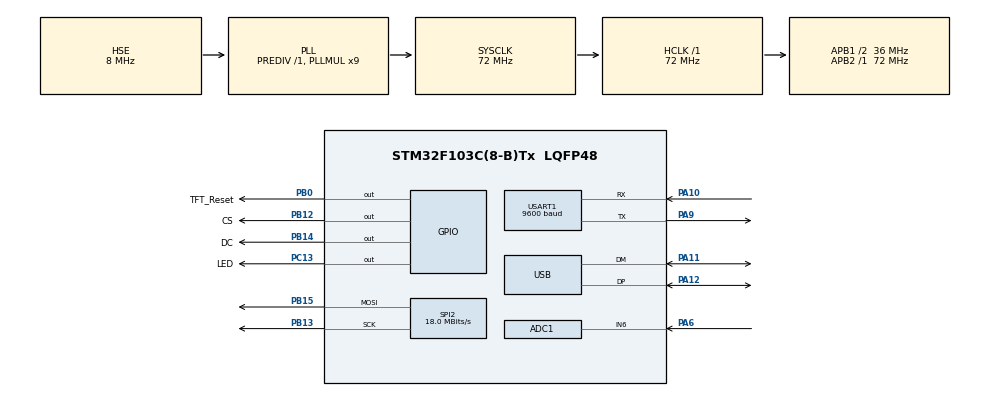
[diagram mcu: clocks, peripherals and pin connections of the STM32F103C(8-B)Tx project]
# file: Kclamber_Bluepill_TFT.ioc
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ADC1.Channel-1\#ChannelRegularConversion=ADC_CHANNEL_6
ADC1.NbrOfConversionFlag=1
ADC1.Rank-1\#ChannelRegularConversion=1
ADC1.SamplingTime-1\#ChannelRegularConversion=ADC_SAMPLETIME_1CYCLE_5
ADC1.master=1
Dma.Request0=USART1_RX
Dma.Request1=USART1_TX
Dma.USART1_RX.0.Direction=DMA_PERIPH_TO_MEMORY
Dma.USART1_RX.0.Instance=DMA1_Channel5
Dma.USART1_RX.0.MemDataAlignment=DMA_MDATAALIGN_BYTE
Dma.USART1_RX.0.MemInc=DMA_MINC_ENABLE
Dma.USART1_RX.0.Mode=DMA_CIRCULAR
Dma.USART1_RX.0.PeriphDataAlignment=DMA_PDATAALIGN_BYTE
Dma.USART1_RX.0.PeriphInc=DMA_PINC_DISABLE
Dma.USART1_RX.0.Priority=DMA_PRIORITY_LOW
Dma.USART1_TX.1.Direction=DMA_MEMORY_TO_PERIPH
Dma.USART1_TX.1.Instance=DMA1_Channel4
Dma.USART1_TX.1.MemDataAlignment=DMA_MDATAALIGN_BYTE
Dma.USART1_TX.1.MemInc=DMA_MINC_ENABLE
Dma.USART1_TX.1.Mode=DMA_NORMAL
Dma.USART1_TX.1.PeriphDataAlignment=DMA_PDATAALIGN_BYTE
Dma.USART1_TX.1.PeriphInc=DMA_PINC_DISABLE
Dma.USART1_TX.1.Priority=DMA_PRIORITY_LOW
Mcu.Family=STM32F1
Mcu.Name=STM32F103C(8-B)Tx
Mcu.Package=LQFP48
NVIC.DMA1_Channel4_IRQn=true\:0\:0\:false\:false\:true\:false\:true\:true
NVIC.DMA1_Channel5_IRQn=true\:0\:0\:false\:false\:true\:false\:true\:true
NVIC.PriorityGroup=NVIC_PRIORITYGROUP_4
NVIC.USART1_IRQn=true\:0\:0\:false\:false\:true\:true\:true\:true
NVIC.USB_LP_CAN1_RX0_IRQn=true\:0\:0\:false\:false\:true\:false\:true\:true
PA10.Mode=Asynchronous
PA10.Signal=USART1_RX
PA11.Mode=Device
PA11.Signal=USB_DM
PA12.Mode=Device
PA12.Signal=USB_DP
PA13.Mode=Serial_Wire
PA13.Signal=SYS_JTMS-SWDIO
PA14.Mode=Serial_Wire
PA14.Signal=SYS_JTCK-SWCLK
PA6.Signal=ADCx_IN6
PA9.Mode=Asynchronous
PA9.Signal=USART1_TX
PB0.GPIO_Label=TFT_Reset
PB0.Signal=GPIO_Output
PB12.GPIO_Label=CS
PB12.Signal=GPIO_Output
PB13.Mode=TX_Only_Simplex_Unidirect_Master
PB13.Signal=SPI2_SCK
PB14.GPIO_Label=DC
PB14.Signal=GPIO_Output
PB15.Mode=TX_Only_Simplex_Unidirect_Master
PB15.Signal=SPI2_MOSI
PC13-TAMPER-RTC.GPIO_Label=LED
PC13-TAMPER-RTC.Signal=GPIO_Output
PD0-OSC_IN.Mode=HSE-External-Oscillator
PD0-OSC_IN.Signal=RCC_OSC_IN
PD1-OSC_OUT.Mode=HSE-External-Oscillator
PD1-OSC_OUT.Signal=RCC_OSC_OUT
ProjectManager.HeapSize=0x200
ProjectManager.StackSize=0x400
ProjectManager.TargetToolchain=STM32CubeIDE
RCC.ADCPresc=RCC_ADCPCLK2_DIV6
RCC.AHBFreq_Value=72000000
RCC.APB1CLKDivider=RCC_HCLK_DIV2
RCC.APB1Freq_Value=36000000
RCC.APB1TimFreq_Value=72000000
RCC.APB2Freq_Value=72000000
RCC.APB2TimFreq_Value=72000000
RCC.HCLKFreq_Value=72000000
RCC.PLLMUL=RCC_PLL_MUL9
RCC.SYSCLKFreq_VALUE=72000000
RCC.SYSCLKSource=RCC_SYSCLKSOURCE_PLLCLK
RCC.USBFreq_Value=48000000
RCC.USBPrescaler=RCC_USBCLKSOURCE_PLL_DIV1_5
SH.ADCx_IN6.0=ADC1_IN6,IN6
SPI2.BaudRatePrescaler=SPI_BAUDRATEPRESCALER_2
SPI2.CalculateBaudRate=18.0 MBits/s
SPI2.Direction=SPI_DIRECTION_2LINES
SPI2.Mode=SPI_MODE_MASTER
SPI2.VirtualType=VM_MASTER
USART1.BaudRate=9600
USART1.VirtualMode=VM_ASYNC
USB_DEVICE.CLASS_NAME_FS=CDC
USB_DEVICE.VirtualMode=Cdc
USB_DEVICE.VirtualModeFS=Cdc_FS
VP_USB_DEVICE_VS_USB_DEVICE_CDC_FS.Mode=CDC_FS
board=custom

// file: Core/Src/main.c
/* USER CODE BEGIN Header */
/**
  ******************************************************************************
  * @file           : main.c
  * @brief          : Main program body
  ******************************************************************************
  * @attention
  *
  * Copyright (c) 2026 STMicroelectronics.
  * All rights reserved.
  *
  * This software is licensed under terms that can be found in the LICENSE file
  * in the root directory of this software component.
  * If no LICENSE file comes with this software, it is provided AS-IS.
  *
  ******************************************************************************
  */
/* USER CODE END Header */
#include "main.h"
#include "usb_device.h"

/* USER CODE BEGIN Includes */
#include "ili9341.h"
#include "string.h"
#include "usbd_cdc_if.h"
#include "hubsensor.h"
/* USER CODE END Includes */

/* USER CODE BEGIN PTD */
char Tx_Buffer[64];
volatile uint8_t ui8_UART_flag=0;
uint16_t Tx_len;
Hubsensor_t hubdata;
/* USER CODE END PTD */

/* USER CODE BEGIN PD */
#define FONTCOLOR ILI9341_WHITE
#define BGCOLOR ILI9341_BLACK
/* USER CODE END PD */

ADC_HandleTypeDef hadc1;

SPI_HandleTypeDef hspi2;

UART_HandleTypeDef huart1;
DMA_HandleTypeDef hdma_usart1_rx;
DMA_HandleTypeDef hdma_usart1_tx;

/* USER CODE BEGIN PV */
int i=0;
/* USER CODE END PV */

void SystemClock_Config(void);
static void MX_GPIO_Init(void);
static void MX_DMA_Init(void);
static void MX_ADC1_Init(void);
static void MX_SPI2_Init(void);
static void MX_USART1_UART_Init(void);
/* USER CODE BEGIN PFP */
uint8_t get_temperature(void);
/* USER CODE END PFP */

int main(void)
{

  /* MCU Configuration--------------------------------------------------------*/

  /* Reset of all peripherals, Initializes the Flash interface and the Systick. */
  HAL_Init();

  /* USER CODE BEGIN Init */
  HAL_Delay(100);
  /* USER CODE END Init */

  /* Configure the system clock */
  SystemClock_Config();

  /* Initialize all configured peripherals */
  MX_GPIO_Init();

  MX_DMA_Init();
  MX_ADC1_Init();
  MX_SPI2_Init();
  MX_USART1_UART_Init();
  MX_USB_DEVICE_Init();
  /* USER CODE BEGIN 2 */
  Hubsensor_Init (&hubdata);
  //HAL_UART_IRQHandler(&huart1); //call once to reset UART buffer registers
  /* Initialize ILI9341 display */

   ILI9341_Init();

   /* Fill screen with black background */
   ILI9341_FillScreen(BGCOLOR);

   /* Draw "Hello World" message in center */
   ILI9341_DrawString(15, 15, "EBiCS Kclamber", FONTCOLOR, BGCOLOR, 2);
   ILI9341_DrawString(15, 50, "Temp. Fake:", FONTCOLOR, BGCOLOR, 2);
   ILI9341_DrawString(15, 85, "Temp. Real:", FONTCOLOR, BGCOLOR, 2);
   ILI9341_DrawString(15, 120, "Pedal position:", FONTCOLOR, BGCOLOR, 2);
   ILI9341_DrawString(15, 155, "Torque:", FONTCOLOR, BGCOLOR, 2);
   ILI9341_DrawString(15, 190, "Speed:", FONTCOLOR, BGCOLOR, 2);
   ILI9341_DrawString(15, 225, "Protocol:", FONTCOLOR, BGCOLOR, 2);
   ILI9341_DrawString(15, 260, "UART Fail:", FONTCOLOR, BGCOLOR, 2);

   hubdata.HS_Wheeltime=15000;
  /* USER CODE END 2 */

  /* Infinite loop */
  /* USER CODE BEGIN WHILE */
  while (1){
  	  char TFT_Buffer[10];
  	  hubdata.HS_Fake_Temperature=get_temperature();
      /* Blink LED to show system is running */
      //HAL_GPIO_TogglePin(GPIOC, GPIO_PIN_13);  /* LED on PC13 for Blackpill */
      sprintf(TFT_Buffer,"%d ", hubdata.HS_Fake_Temperature);
      ILI9341_DrawString(200, 50, TFT_Buffer, FONTCOLOR, BGCOLOR, 2);
      sprintf(TFT_Buffer,"%d ", hubdata.HS_Temperature);
      ILI9341_DrawString(200, 85, TFT_Buffer, FONTCOLOR, BGCOLOR, 2);
      sprintf(TFT_Buffer,"%d ", hubdata.HS_Pedalposition);
      ILI9341_DrawString(200, 120, TFT_Buffer, FONTCOLOR, BGCOLOR, 2);
      sprintf(TFT_Buffer,"%d ", hubdata.HS_Torque);
      ILI9341_DrawString(200, 155, TFT_Buffer, FONTCOLOR, BGCOLOR, 2);
      sprintf(TFT_Buffer,"%d ", 3940/(hubdata.HS_Wheeltime+1));
      ILI9341_DrawString(200, 190, TFT_Buffer, FONTCOLOR, BGCOLOR, 2);
      sprintf(TFT_Buffer,"%d ", hubdata.HS_Protocol);
      ILI9341_DrawString(200, 225, TFT_Buffer, FONTCOLOR, BGCOLOR, 2);
      sprintf(TFT_Buffer,"%d ", hubdata.HS_UARTFail);
      ILI9341_DrawString(200, 260, TFT_Buffer, FONTCOLOR, BGCOLOR, 2);

      i++;
//      if(i>5){
//    	  MX_USART1_UART_Init();
//    	  i=0;
//    	  HAL_GPIO_TogglePin(GPIOC, GPIO_PIN_13);
//      }
      //HAL_Delay(1500);
    /* USER CODE END WHILE */

    /* USER CODE BEGIN 3 */
	  if(ui8_UART_flag==2){
		 // HAL_GPIO_TogglePin(GPIOC, GPIO_PIN_13);  /* LED on PC13 for Blackpill */
		  ui8_UART_flag=0;

		  sprintf(Tx_Buffer,"%d , %d, %d, %d, %d, %d\n ", hubdata.HS_Temperature,hubdata.HS_Pedalposition,hubdata.HS_Pedals_turning,hubdata.HS_Torque,hubdata.HS_Wheeltime,hubdata.HS_Wheel_turning );
		  Tx_len=strlen(Tx_Buffer);
		  CDC_Transmit_FS((uint8_t*)Tx_Buffer, Tx_len);
		  //HAL_UART_Transmit_DMA(&huart1, (uint8_t *)&Tx_Buffer, Tx_len);
		  //HAL_UART_Transmit(&huart1, (uint8_t *)&Tx_Buffer, Tx_len, 1000);
	  }

  }
  /* USER CODE END 3 */
}

void SystemClock_Config(void)
{
  RCC_OscInitTypeDef RCC_OscInitStruct = {0};
  RCC_ClkInitTypeDef RCC_ClkInitStruct = {0};
  RCC_PeriphCLKInitTypeDef PeriphClkInit = {0};

  /** Initializes the RCC Oscillators according to the specified parameters
  * in the RCC_OscInitTypeDef structure.
  */
  RCC_OscInitStruct.OscillatorType = RCC_OSCILLATORTYPE_HSE;
  RCC_OscInitStruct.HSEState = RCC_HSE_ON;
  RCC_OscInitStruct.HSEPredivValue = RCC_HSE_PREDIV_DIV1;
  RCC_OscInitStruct.HSIState = RCC_HSI_ON;
  RCC_OscInitStruct.PLL.PLLState = RCC_PLL_ON;
  RCC_OscInitStruct.PLL.PLLSource = RCC_PLLSOURCE_HSE;
  RCC_OscInitStruct.PLL.PLLMUL = RCC_PLL_MUL9;
  if (HAL_RCC_OscConfig(&RCC_OscInitStruct) != HAL_OK)
  {
    Error_Handler();
  }

  /** Initializes the CPU, AHB and APB buses clocks
  */
  RCC_ClkInitStruct.ClockType = RCC_CLOCKTYPE_HCLK|RCC_CLOCKTYPE_SYSCLK
                              |RCC_CLOCKTYPE_PCLK1|RCC_CLOCKTYPE_PCLK2;
  RCC_ClkInitStruct.SYSCLKSource = RCC_SYSCLKSOURCE_PLLCLK;
  RCC_ClkInitStruct.AHBCLKDivider = RCC_SYSCLK_DIV1;
  RCC_ClkInitStruct.APB1CLKDivider = RCC_HCLK_DIV2;
  RCC_ClkInitStruct.APB2CLKDivider = RCC_HCLK_DIV1;

  if (HAL_RCC_ClockConfig(&RCC_ClkInitStruct, FLASH_LATENCY_2) != HAL_OK)
  {
    Error_Handler();
  }
  PeriphClkInit.PeriphClockSelection = RCC_PERIPHCLK_ADC|RCC_PERIPHCLK_USB;
  PeriphClkInit.AdcClockSelection = RCC_ADCPCLK2_DIV6;
  PeriphClkInit.UsbClockSelection = RCC_USBCLKSOURCE_PLL_DIV1_5;
  if (HAL_RCCEx_PeriphCLKConfig(&PeriphClkInit) != HAL_OK)
  {
    Error_Handler();
  }
}

static void MX_ADC1_Init(void)
{

  ADC_ChannelConfTypeDef sConfig = {0};

  /** Common config
  */
  hadc1.Instance = ADC1;
  hadc1.Init.ScanConvMode = ADC_SCAN_DISABLE;
  hadc1.Init.ContinuousConvMode = DISABLE;
  hadc1.Init.DiscontinuousConvMode = DISABLE;
  hadc1.Init.ExternalTrigConv = ADC_SOFTWARE_START;
  hadc1.Init.DataAlign = ADC_DATAALIGN_RIGHT;
  hadc1.Init.NbrOfConversion = 1;
  if (HAL_ADC_Init(&hadc1) != HAL_OK)
  {
    Error_Handler();
  }

  /** Configure Regular Channel
  */
  sConfig.Channel = ADC_CHANNEL_6;
  sConfig.Rank = ADC_REGULAR_RANK_1;
  sConfig.SamplingTime = ADC_SAMPLETIME_1CYCLE_5;
  if (HAL_ADC_ConfigChannel(&hadc1, &sConfig) != HAL_OK)
  {
    Error_Handler();
  }

}

static void MX_SPI2_Init(void)
{

  /* SPI2 parameter configuration*/
  hspi2.Instance = SPI2;
  hspi2.Init.Mode = SPI_MODE_MASTER;
  hspi2.Init.Direction = SPI_DIRECTION_2LINES;
  hspi2.Init.DataSize = SPI_DATASIZE_8BIT;
  hspi2.Init.CLKPolarity = SPI_POLARITY_LOW;
  hspi2.Init.CLKPhase = SPI_PHASE_1EDGE;
  hspi2.Init.NSS = SPI_NSS_SOFT;
  hspi2.Init.BaudRatePrescaler = SPI_BAUDRATEPRESCALER_2;
  hspi2.Init.FirstBit = SPI_FIRSTBIT_MSB;
  hspi2.Init.TIMode = SPI_TIMODE_DISABLE;
  hspi2.Init.CRCCalculation = SPI_CRCCALCULATION_DISABLE;
  hspi2.Init.CRCPolynomial = 10;
  if (HAL_SPI_Init(&hspi2) != HAL_OK)
  {
    Error_Handler();
  }

}

static void MX_USART1_UART_Init(void)
{

  huart1.Instance = USART1;
  huart1.Init.BaudRate = 9600;
  huart1.Init.WordLength = UART_WORDLENGTH_8B;
  huart1.Init.StopBits = UART_STOPBITS_1;
  huart1.Init.Parity = UART_PARITY_NONE;
  huart1.Init.Mode = UART_MODE_TX_RX;
  huart1.Init.HwFlowCtl = UART_HWCONTROL_NONE;
  huart1.Init.OverSampling = UART_OVERSAMPLING_16;
  if (HAL_UART_Init(&huart1) != HAL_OK)
  {
    Error_Handler();
  }
  /* USER CODE BEGIN USART1_Init 2 */
  //__HAL_UART_ENABLE(&huart1);
  /* USER CODE END USART1_Init 2 */

}

static void MX_DMA_Init(void)
{

  /* DMA controller clock enable */
  __HAL_RCC_DMA1_CLK_ENABLE();

  /* DMA interrupt init */
  /* DMA1_Channel4_IRQn interrupt configuration */
  HAL_NVIC_SetPriority(DMA1_Channel4_IRQn, 1, 0);
  HAL_NVIC_EnableIRQ(DMA1_Channel4_IRQn);
  /* DMA1_Channel5_IRQn interrupt configuration */
  HAL_NVIC_SetPriority(DMA1_Channel5_IRQn, 1, 1);
  HAL_NVIC_EnableIRQ(DMA1_Channel5_IRQn);

}

static void MX_GPIO_Init(void)
{
  GPIO_InitTypeDef GPIO_InitStruct = {0};

  /* GPIO Ports Clock Enable */
  __HAL_RCC_GPIOC_CLK_ENABLE();
  __HAL_RCC_GPIOD_CLK_ENABLE();
  __HAL_RCC_GPIOA_CLK_ENABLE();
  __HAL_RCC_GPIOB_CLK_ENABLE();

  /*Configure GPIO pin Output Level */
  HAL_GPIO_WritePin(LED_GPIO_Port, LED_Pin, GPIO_PIN_RESET);

  /*Configure GPIO pin Output Level */
  HAL_GPIO_WritePin(GPIOB, TFT_Reset_Pin|CS_Pin|DC_Pin, GPIO_PIN_RESET);

  /*Configure GPIO pin : LED_Pin */
  GPIO_InitStruct.Pin = LED_Pin;
  GPIO_InitStruct.Mode = GPIO_MODE_OUTPUT_PP;
  GPIO_InitStruct.Pull = GPIO_NOPULL;
  GPIO_InitStruct.Speed = GPIO_SPEED_FREQ_LOW;
  HAL_GPIO_Init(LED_GPIO_Port, &GPIO_InitStruct);

  /*Configure GPIO pins : TFT_Reset_Pin CS_Pin DC_Pin */
  GPIO_InitStruct.Pin = TFT_Reset_Pin|CS_Pin|DC_Pin;
  GPIO_InitStruct.Mode = GPIO_MODE_OUTPUT_PP;
  GPIO_InitStruct.Pull = GPIO_NOPULL;
  GPIO_InitStruct.Speed = GPIO_SPEED_FREQ_LOW;
  HAL_GPIO_Init(GPIOB, &GPIO_InitStruct);

}

/* USER CODE BEGIN 4 */
uint8_t get_temperature(void){
	uint8_t adc_value=0;
	if (HAL_ADC_Start(&hadc1) == HAL_OK)
	{
		/* Wait for the conversion to complete (timeout of 10ms) */
		if (HAL_ADC_PollForConversion(&hadc1, 10) == HAL_OK)
		{
			/* Read the ADC value */
			adc_value = HAL_ADC_GetValue(&hadc1)>>4;
		}

		/* Stop the ADC conversion */
		HAL_ADC_Stop(&hadc1);
	}
	return adc_value;
}

void HAL_UART_RxCpltCallback(UART_HandleTypeDef *UartHandle)
{
	Hubsensor_Service(&hubdata);
	HAL_GPIO_TogglePin(GPIOC, GPIO_PIN_13);
	ui8_UART_flag=2;

}

//void HAL_UART_TxCpltCallback(UART_HandleTypeDef *UartHandle)
//{
//	//ui8_UART_TxCplt_flag=1;
//}
void HAL_UART_ErrorCallback(UART_HandleTypeDef *UartHandle) {
    if(UartHandle->Instance == USART1) {
        // 1. Read status register to clear error flags
        volatile uint32_t tmpreg = huart1.Instance->SR;

        // 2. Read data register to clear it
        volatile uint32_t tmpreg2 = huart1.Instance->DR;

        // Prevent compiler warnings
        UNUSED(tmpreg);
        UNUSED(tmpreg2);

        // 3. CRITICAL: Restart UART reception after error
        if(__HAL_UART_GET_FLAG(&huart1, UART_FLAG_RXNE) == RESET) {
            // Abort any ongoing DMA operations
            HAL_UART_AbortReceive(&huart1);

            // Reinitialize UART for receiving
            huart1.RxState = HAL_UART_STATE_READY;
            huart1.ErrorCode = HAL_UART_ERROR_NONE;

            // Restart DMA reception if using DMA
            Hubsensor_Init (&hubdata);
        }
    }
}
/* USER CODE END 4 */

void Error_Handler(void)
{
  __disable_irq();
  while (1)
  {
  }
}
